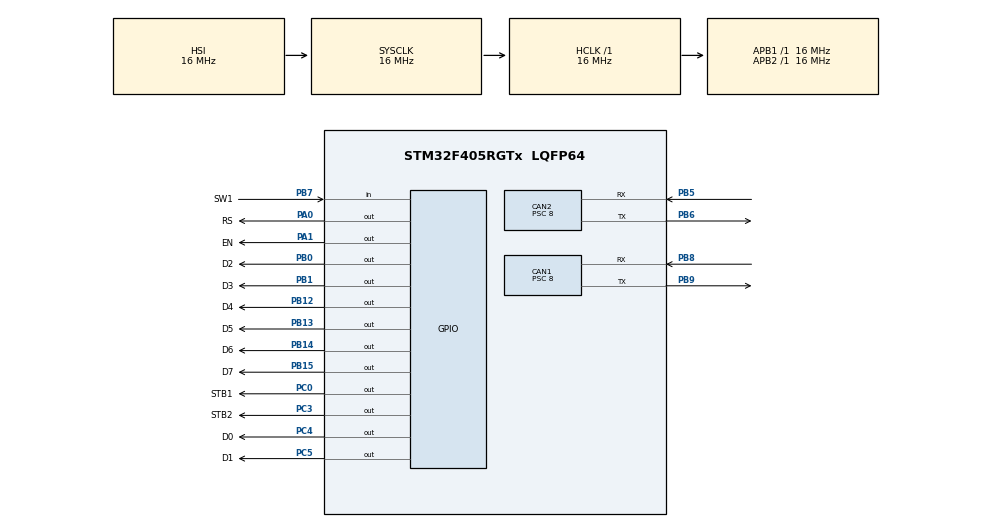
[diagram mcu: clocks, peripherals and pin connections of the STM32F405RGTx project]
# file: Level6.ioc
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CAN1.BS1=CAN_BS1_9TQ
CAN1.BS2=CAN_BS2_2TQ
CAN1.CalculateBaudRate=166666
CAN1.CalculateTimeBit=6000
CAN1.CalculateTimeQuantum=500.0
CAN1.Prescaler=8
CAN2.BS1=CAN_BS1_9TQ
CAN2.BS2=CAN_BS2_2TQ
CAN2.CalculateBaudRate=166666
CAN2.CalculateTimeBit=6000
CAN2.CalculateTimeQuantum=500.0
CAN2.Prescaler=8
Mcu.Family=STM32F4
Mcu.Name=STM32F405RGTx
Mcu.Package=LQFP64
NVIC.PriorityGroup=NVIC_PRIORITYGROUP_4
PA0-WKUP.GPIO_Label=RS
PA0-WKUP.Signal=GPIO_Output
PA1.GPIO_Label=EN
PA1.Signal=GPIO_Output
PA13.Mode=Serial_Wire
PA13.Signal=SYS_JTMS-SWDIO
PA14.Mode=Serial_Wire
PA14.Signal=SYS_JTCK-SWCLK
PB0.GPIO_Label=D2
PB0.Signal=GPIO_Output
PB1.GPIO_Label=D3
PB1.Signal=GPIO_Output
PB12.GPIO_Label=D4
PB12.Signal=GPIO_Output
PB13.GPIO_Label=D5
PB13.Signal=GPIO_Output
PB14.GPIO_Label=D6
PB14.Signal=GPIO_Output
PB15.GPIO_Label=D7
PB15.Signal=GPIO_Output
PB5.Mode=CAN_Activate
PB5.Signal=CAN2_RX
PB6.Mode=CAN_Activate
PB6.Signal=CAN2_TX
PB7.GPIO_Label=SW1
PB7.Signal=GPIO_Input
PB8.Mode=CAN_Activate
PB8.Signal=CAN1_RX
PB9.Mode=CAN_Activate
PB9.Signal=CAN1_TX
PC0.GPIO_Label=STB1
PC0.Signal=GPIO_Output
PC14-OSC32_IN.Mode=LSE-External-Oscillator
PC14-OSC32_IN.Signal=RCC_OSC32_IN
PC15-OSC32_OUT.Mode=LSE-External-Oscillator
PC15-OSC32_OUT.Signal=RCC_OSC32_OUT
PC3.GPIO_Label=STB2
PC3.Signal=GPIO_Output
PC4.GPIO_Label=D0
PC4.Signal=GPIO_Output
PC5.GPIO_Label=D1
PC5.Signal=GPIO_Output
PH0-OSC_IN.Mode=HSE-External-Oscillator
PH0-OSC_IN.Signal=RCC_OSC_IN
PH1-OSC_OUT.Mode=HSE-External-Oscillator
PH1-OSC_OUT.Signal=RCC_OSC_OUT
ProjectManager.HeapSize=0x200
ProjectManager.StackSize=0x400
ProjectManager.TargetToolchain=STM32CubeIDE
RCC.48MHZClocksFreq_Value=48000000
RCC.AHBFreq_Value=16000000
RCC.APB1Freq_Value=16000000
RCC.APB2Freq_Value=16000000
RCC.CortexFreq_Value=16000000
RCC.HSE_VALUE=25000000
RCC.HSI_VALUE=16000000
RCC.SYSCLKFreq_VALUE=16000000
RCC.VCOOutputFreq_Value=192000000
board=custom

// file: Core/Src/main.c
/* USER CODE BEGIN Header */
/**
  ******************************************************************************
  * @file           : main.c
  * @brief          : Main program body
  ******************************************************************************
  * @attention
  *
  * Copyright (c) 2024 STMicroelectronics.
  * All rights reserved.
  *
  * This software is licensed under terms that can be found in the LICENSE file
  * in the root directory of this software component.
  * If no LICENSE file comes with this software, it is provided AS-IS.
  *
  ******************************************************************************
  */
/* USER CODE END Header */
#include "main.h"

CAN_HandleTypeDef hcan1;
CAN_HandleTypeDef hcan2;

/* USER CODE BEGIN PV */
CAN_TxHeaderTypeDef  p1header;
CAN_RxHeaderTypeDef  p2header;
uint32_t pTxMailbox = CAN_TX_MAILBOX0, RxFifo = CAN_RX_FIFO0;
CAN_FilterTypeDef  sFilterConfig;
uint8_t aData[8], received_data[8];
uint8_t can_data, Can_id;
/* USER CODE END PV */

void SystemClock_Config(void);
static void MX_GPIO_Init(void);
static void MX_CAN1_Init(void);
static void MX_CAN2_Init(void);
/* USER CODE BEGIN PFP */
void lcd_init();
void cmd(unsigned char C);
void data(unsigned char D);
void display(unsigned char *ptr);
void Time(unsigned char Value);
/* USER CODE END PFP */

int main(void)
{

  /* MCU Configuration--------------------------------------------------------*/

  /* Reset of all peripherals, Initializes the Flash interface and the Systick. */
  HAL_Init();

  /* Configure the system clock */
  SystemClock_Config();

  /* Initialize all configured peripherals */
  MX_GPIO_Init();
  MX_CAN1_Init();
  MX_CAN2_Init();

  /* Infinite loop */
  /* USER CODE BEGIN WHILE */
  	lcd_init();
	HAL_Delay(200);

	// Set Output pin STB1, STB2 as LOW
	HAL_GPIO_WritePin(GPIOC, STB1_Pin, GPIO_PIN_RESET);
	HAL_GPIO_WritePin(GPIOC, STB2_Pin, GPIO_PIN_RESET);

	// Data configuration
	aData[0]='R';
	aData[1]='e';
	aData[2]='c';
	aData[3]='e';
	aData[4]='i';
	aData[5]='v';
	aData[6]='e';
	aData[7]='d';

	// CAN Tx message header configuration
	p1header.DLC = 8;
	p1header.IDE = CAN_ID_STD;
	p1header.StdId = 0x001;
	p1header.RTR = CAN_RTR_DATA;

	// CAN Filter configuration
	sFilterConfig.FilterFIFOAssignment = CAN_FILTER_FIFO0;
	sFilterConfig.FilterIdHigh = 0x00C;
	sFilterConfig.FilterIdLow = 0x00A;
	sFilterConfig.FilterMaskIdHigh = 0;
	sFilterConfig.FilterMaskIdLow = 0;
	sFilterConfig.FilterScale = CAN_FILTERSCALE_32BIT;
	sFilterConfig.FilterActivation = ENABLE;
	HAL_CAN_ConfigFilter(&hcan1, &sFilterConfig);
	HAL_CAN_ConfigFilter(&hcan2, &sFilterConfig);

	// Start CAN transmission
	HAL_CAN_Start(&hcan1);
	HAL_CAN_Start(&hcan2);

  while (1)
  {
	// CAN1 will send data if SW1 is pushed
	if(HAL_GPIO_ReadPin(SW1_GPIO_Port, SW1_Pin) == 0)
	{
	  HAL_CAN_AddTxMessage(&hcan1, &p1header, aData, &pTxMailbox);
	}

	// CAN2 received message from CAN1
	HAL_CAN_GetRxMessage(&hcan2, CAN_RX_FIFO0, &p2header, received_data);
	Can_id = p1header.StdId;

	// LCD display received data
	cmd(0x80);
	display("LEVEL 6:");
	cmd(0xc0);
	for(int i = 0; i < 8; i++)
	{
	  data(received_data[i]);
	}
    /* USER CODE END WHILE */

  }
}

void SystemClock_Config(void)
{
  RCC_OscInitTypeDef RCC_OscInitStruct = {0};
  RCC_ClkInitTypeDef RCC_ClkInitStruct = {0};

  /** Configure the main internal regulator output voltage
  */
  __HAL_RCC_PWR_CLK_ENABLE();
  __HAL_PWR_VOLTAGESCALING_CONFIG(PWR_REGULATOR_VOLTAGE_SCALE1);

  /** Initializes the RCC Oscillators according to the specified parameters
  * in the RCC_OscInitTypeDef structure.
  */
  RCC_OscInitStruct.OscillatorType = RCC_OSCILLATORTYPE_HSI;
  RCC_OscInitStruct.HSIState = RCC_HSI_ON;
  RCC_OscInitStruct.HSICalibrationValue = RCC_HSICALIBRATION_DEFAULT;
  RCC_OscInitStruct.PLL.PLLState = RCC_PLL_NONE;
  if (HAL_RCC_OscConfig(&RCC_OscInitStruct) != HAL_OK)
  {
    Error_Handler();
  }

  /** Initializes the CPU, AHB and APB buses clocks
  */
  RCC_ClkInitStruct.ClockType = RCC_CLOCKTYPE_HCLK|RCC_CLOCKTYPE_SYSCLK
                              |RCC_CLOCKTYPE_PCLK1|RCC_CLOCKTYPE_PCLK2;
  RCC_ClkInitStruct.SYSCLKSource = RCC_SYSCLKSOURCE_HSI;
  RCC_ClkInitStruct.AHBCLKDivider = RCC_SYSCLK_DIV1;
  RCC_ClkInitStruct.APB1CLKDivider = RCC_HCLK_DIV1;
  RCC_ClkInitStruct.APB2CLKDivider = RCC_HCLK_DIV1;

  if (HAL_RCC_ClockConfig(&RCC_ClkInitStruct, FLASH_LATENCY_0) != HAL_OK)
  {
    Error_Handler();
  }
}

static void MX_CAN1_Init(void)
{

  hcan1.Instance = CAN1;
  hcan1.Init.Prescaler = 8;
  hcan1.Init.Mode = CAN_MODE_NORMAL;
  hcan1.Init.SyncJumpWidth = CAN_SJW_1TQ;
  hcan1.Init.TimeSeg1 = CAN_BS1_9TQ;
  hcan1.Init.TimeSeg2 = CAN_BS2_2TQ;
  hcan1.Init.TimeTriggeredMode = DISABLE;
  hcan1.Init.AutoBusOff = DISABLE;
  hcan1.Init.AutoWakeUp = DISABLE;
  hcan1.Init.AutoRetransmission = DISABLE;
  hcan1.Init.ReceiveFifoLocked = DISABLE;
  hcan1.Init.TransmitFifoPriority = DISABLE;
  if (HAL_CAN_Init(&hcan1) != HAL_OK)
  {
    Error_Handler();
  }

}

static void MX_CAN2_Init(void)
{

  hcan2.Instance = CAN2;
  hcan2.Init.Prescaler = 8;
  hcan2.Init.Mode = CAN_MODE_NORMAL;
  hcan2.Init.SyncJumpWidth = CAN_SJW_1TQ;
  hcan2.Init.TimeSeg1 = CAN_BS1_9TQ;
  hcan2.Init.TimeSeg2 = CAN_BS2_2TQ;
  hcan2.Init.TimeTriggeredMode = DISABLE;
  hcan2.Init.AutoBusOff = DISABLE;
  hcan2.Init.AutoWakeUp = DISABLE;
  hcan2.Init.AutoRetransmission = DISABLE;
  hcan2.Init.ReceiveFifoLocked = DISABLE;
  hcan2.Init.TransmitFifoPriority = DISABLE;
  if (HAL_CAN_Init(&hcan2) != HAL_OK)
  {
    Error_Handler();
  }

}

static void MX_GPIO_Init(void)
{
  GPIO_InitTypeDef GPIO_InitStruct = {0};

  /* GPIO Ports Clock Enable */
  __HAL_RCC_GPIOC_CLK_ENABLE();
  __HAL_RCC_GPIOH_CLK_ENABLE();
  __HAL_RCC_GPIOA_CLK_ENABLE();
  __HAL_RCC_GPIOB_CLK_ENABLE();

  /*Configure GPIO pin Output Level */
  HAL_GPIO_WritePin(GPIOC, STB1_Pin|STB2_Pin|D0_Pin|D1_Pin, GPIO_PIN_RESET);

  /*Configure GPIO pin Output Level */
  HAL_GPIO_WritePin(GPIOA, RS_Pin|EN_Pin, GPIO_PIN_RESET);

  /*Configure GPIO pin Output Level */
  HAL_GPIO_WritePin(GPIOB, D2_Pin|D3_Pin|D4_Pin|D5_Pin
                          |D6_Pin|D7_Pin, GPIO_PIN_RESET);

  /*Configure GPIO pins : STB1_Pin STB2_Pin D0_Pin D1_Pin */
  GPIO_InitStruct.Pin = STB1_Pin|STB2_Pin|D0_Pin|D1_Pin;
  GPIO_InitStruct.Mode = GPIO_MODE_OUTPUT_PP;
  GPIO_InitStruct.Pull = GPIO_NOPULL;
  GPIO_InitStruct.Speed = GPIO_SPEED_FREQ_LOW;
  HAL_GPIO_Init(GPIOC, &GPIO_InitStruct);

  /*Configure GPIO pins : RS_Pin EN_Pin */
  GPIO_InitStruct.Pin = RS_Pin|EN_Pin;
  GPIO_InitStruct.Mode = GPIO_MODE_OUTPUT_PP;
  GPIO_InitStruct.Pull = GPIO_NOPULL;
  GPIO_InitStruct.Speed = GPIO_SPEED_FREQ_LOW;
  HAL_GPIO_Init(GPIOA, &GPIO_InitStruct);

  /*Configure GPIO pins : D2_Pin D3_Pin D4_Pin D5_Pin
                           D6_Pin D7_Pin */
  GPIO_InitStruct.Pin = D2_Pin|D3_Pin|D4_Pin|D5_Pin
                          |D6_Pin|D7_Pin;
  GPIO_InitStruct.Mode = GPIO_MODE_OUTPUT_PP;
  GPIO_InitStruct.Pull = GPIO_NOPULL;
  GPIO_InitStruct.Speed = GPIO_SPEED_FREQ_LOW;
  HAL_GPIO_Init(GPIOB, &GPIO_InitStruct);

  /*Configure GPIO pin : SW1_Pin */
  GPIO_InitStruct.Pin = SW1_Pin;
  GPIO_InitStruct.Mode = GPIO_MODE_INPUT;
  GPIO_InitStruct.Pull = GPIO_NOPULL;
  HAL_GPIO_Init(SW1_GPIO_Port, &GPIO_InitStruct);

}

/* USER CODE BEGIN 4 */

void lcd_init()
{
	HAL_Delay(10);
	cmd(0x01);
	cmd(0x38);
	cmd(0x06);
	cmd(0x0C);
	HAL_Delay(10);
}

void cmd(unsigned char C)
{
	HAL_GPIO_WritePin(GPIOA, RS_Pin, 0);
	HAL_GPIO_WritePin(GPIOC, D0_Pin,(C&0X01));
	HAL_GPIO_WritePin(GPIOC, D1_Pin,(C&0X02));
	HAL_GPIO_WritePin(GPIOB, D2_Pin,(C&0X04));
	HAL_GPIO_WritePin(GPIOB, D3_Pin,(C&0X08));
	HAL_GPIO_WritePin(GPIOB, D4_Pin,(C&0X10));
	HAL_GPIO_WritePin(GPIOB, D5_Pin,(C&0X20));
	HAL_GPIO_WritePin(GPIOB, D6_Pin,(C&0X40));
	HAL_GPIO_WritePin(GPIOB, D7_Pin,(C&0X80));
	HAL_GPIO_WritePin(GPIOA, EN_Pin, 1);
	HAL_Delay(5);
	HAL_GPIO_WritePin(GPIOA, EN_Pin, 0);
	HAL_Delay(5);
}

void data (unsigned char D)
{
	HAL_GPIO_WritePin(GPIOA, RS_Pin, 1);
	HAL_GPIO_WritePin(GPIOC, D0_Pin,(D&0X01));
	HAL_GPIO_WritePin(GPIOC, D1_Pin,(D&0X02));
	HAL_GPIO_WritePin(GPIOB, D2_Pin,(D&0X04));
	HAL_GPIO_WritePin(GPIOB, D3_Pin,(D&0X08));
	HAL_GPIO_WritePin(GPIOB, D4_Pin,(D&0X10));
	HAL_GPIO_WritePin(GPIOB, D5_Pin,(D&0X20));
	HAL_GPIO_WritePin(GPIOB, D6_Pin,(D&0X40));
	HAL_GPIO_WritePin(GPIOB, D7_Pin,(D&0X80));
	HAL_GPIO_WritePin(GPIOA, EN_Pin, 1);
	HAL_Delay(5);
	HAL_GPIO_WritePin(GPIOA, EN_Pin, 0);
	HAL_Delay(5);
}

void display(unsigned char *ptr)
{
	while(*ptr!='\0')
	{
	data(*ptr++);
	HAL_Delay(2);
	}
}

void Time(unsigned char Value)
{
	data(((Value%100)/10)+0X30);
	data((Value%10)+0X30);
}
/* USER CODE END 4 */

void Error_Handler(void)
{
  __disable_irq();
  while (1)
  {
  }
}
